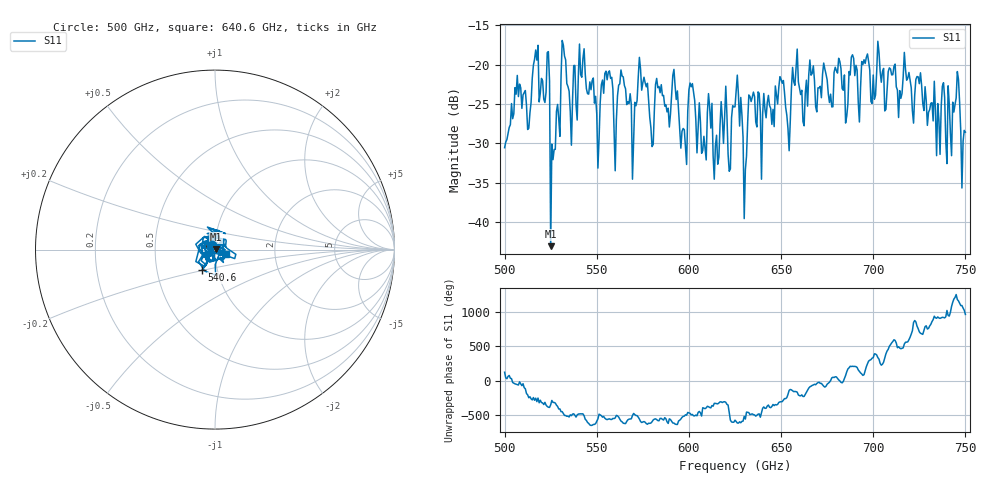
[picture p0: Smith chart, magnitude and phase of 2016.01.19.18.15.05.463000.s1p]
!Created with skrf (http://scikit-rf.org).
# GHz S RI R 50.0
!freq ReS11 ImS11
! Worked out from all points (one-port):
!   401 points, 500 GHz to 750 GHz, reference 50 ohm
!   lowest |S11| = -43.0 dB at 525 GHz (marker M1), VSWR 1.01, Z = 50.7 + j0.139 ohm
!   |S11| at or under -10 dB: start of sweep to end of sweep
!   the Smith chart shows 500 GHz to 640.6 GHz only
!   S11 on the Smith chart (normalised r, x): 500 GHz: 0.97, +0.05; 540.6 GHz: 0.84, -0.20; 640.6 GHz: 1.13, -0.05
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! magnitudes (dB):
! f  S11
! 500 GHz  -30.5
! 506.9 GHz  -21.4
! 513.1 GHz  -28.1
! 516.9 GHz  -18.2
! 523.1 GHz  -18.5
! 525 GHz  -43.0
! 526.2 GHz  -32.0
! 531.2 GHz  -16.9
! 540.6 GHz  -17.4
! 550 GHz  -26.3
! 562.5 GHz  -22.4
! 570 GHz  -29.4
! 573.8 GHz  -20.6
! 580 GHz  -30.4
! 593.8 GHz  -23.3
! 597.5 GHz  -28.3
! 601.2 GHz  -22.8
! 608.1 GHz  -29.1
! 611.2 GHz  -25.4
! 615 GHz  -29.0
! 625 GHz  -25.4
! 630.6 GHz  -33.3
! 633.8 GHz  -24.7
! 640.6 GHz  -23.7
! 656.2 GHz  -20.4
! 687.5 GHz  -21.3
! 718.8 GHz  -21.7
! 750 GHz  -28.6
